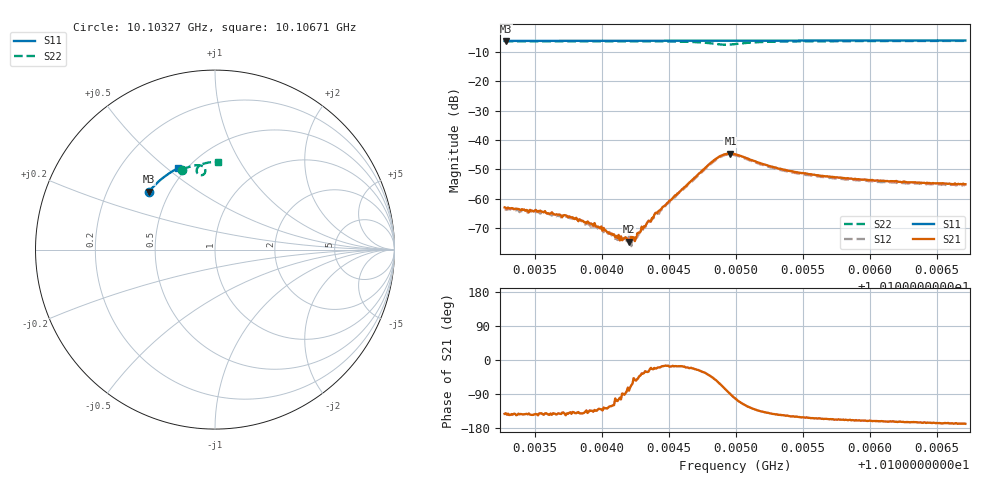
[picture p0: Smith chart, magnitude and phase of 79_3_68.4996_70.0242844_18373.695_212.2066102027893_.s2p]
#  HZ  S  RI  R  50.00
! Rohde & Schwarz Vector Network Analyzer
! Rohde-Schwarz,ZNB20-2Port,1311601062101988,3.16
! Created: UTC 3/20/2024, 4:52:05 PM
! freq[Hz]  re:S11  im:S11  re:S21  im:S21  re:S12  im:S12  re:S22  im:S22
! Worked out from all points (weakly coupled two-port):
!   401 points, 10.10327 GHz to 10.10671 GHz, reference 50 ohm
!   highest |S21| = -44.63 dB at 10.10496 GHz (marker M1); lowest = -74.7 dB at 10.1042 GHz (marker M2)
!   lowest |S11| = -6.2 dB at 10.10328 GHz (marker M3), VSWR 2.91, Z = 19.3 + j16.4 ohm
!   |S11| at or under -10 dB: nowhere
!   |S22| runs from -7.5 to -6.2 dB; largest |S21 - S12| = 0.00058
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1.0103272e10  -0.3677 0.3228  -0.000559 -0.000438  -0.000478 -0.000428  -0.1815 0.4461
1.010328e10  -0.3672 0.3231  -0.000542 -0.000443  -0.000464 -0.000453  -0.1811 0.4463
1.0103315e10  -0.366 0.3248  -0.000557 -0.000393  -0.000484 -0.000439  -0.1789 0.4472
1.0103556e10  -0.3566 0.3361  -0.000474 -0.000358  -0.000407 -0.000389  -0.1637 0.4536
1.0103719e10  -0.35 0.3437  -0.00041 -0.000326  -0.000352 -0.000364  -0.1531 0.4576
1.0103848e10  -0.3446 0.3494  -0.000328 -0.000265  -0.000281 -0.0003  -0.1445 0.4606
1.010396e10  -0.3401 0.3543  -0.000229 -0.000239  -0.00019 -0.000265  -0.1365 0.4631
1.0104038e10  -0.3366 0.3578  -0.000165 -0.000211  -0.000118 -0.000239  -0.1309 0.4647
1.0104107e10  -0.3338 0.3608  -6.96e-05 -0.000221  -4.91e-05 -0.000204  -0.1259 0.4662
1.010415e10  -0.332 0.3625  5.12e-06 -0.000195  5.52e-06 -0.000198  -0.1226 0.4671
1.0104201e10  -0.3298 0.3648  2.99e-05 -0.000182  0.000105 -0.000212  -0.1187 0.4677
1.0104261e10  -0.3271 0.3674  0.00016 -0.000197  0.000163 -0.000144  -0.1138 0.4687
1.0104279e10  -0.3263 0.3681  0.000194 -0.000178  0.000203 -0.000154  -0.1124 0.469
1.0104425e10  -0.3199 0.3742  0.000585 -0.000209  0.000536 -0.000129  -0.099 0.4703
1.0104821e10  -0.3017 0.3901  0.00297 -0.00299  0.00309 -0.00259  -0.0535 0.4396
1.0104898e10  -0.2981 0.3928  0.00198 -0.00515  0.00236 -0.00476  -0.0645 0.4182
1.0104959e10  -0.2955 0.3951  -5.9e-06 -0.00587  0.000468 -0.0056  -0.085 0.4154
1.0104993e10  -0.294 0.3963  -0.0011 -0.00558  -0.000565 -0.00548  -0.0944 0.421
1.0105294e10  -0.2798 0.4079  -0.00273 -0.00203  -0.00241 -0.00215  -0.0858 0.4681
1.010557e10  -0.2663 0.4176  -0.00229 -0.00115  -0.00209 -0.00128  -0.062 0.479
1.0106146e10  -0.2367 0.4365  -0.00188 -0.0006  -0.00174 -0.00074  -0.0195 0.4871
1.0106714e10  -0.2065 0.4531  -0.00172 -0.000359  -0.00161 -0.000488  0.0189 0.4892
